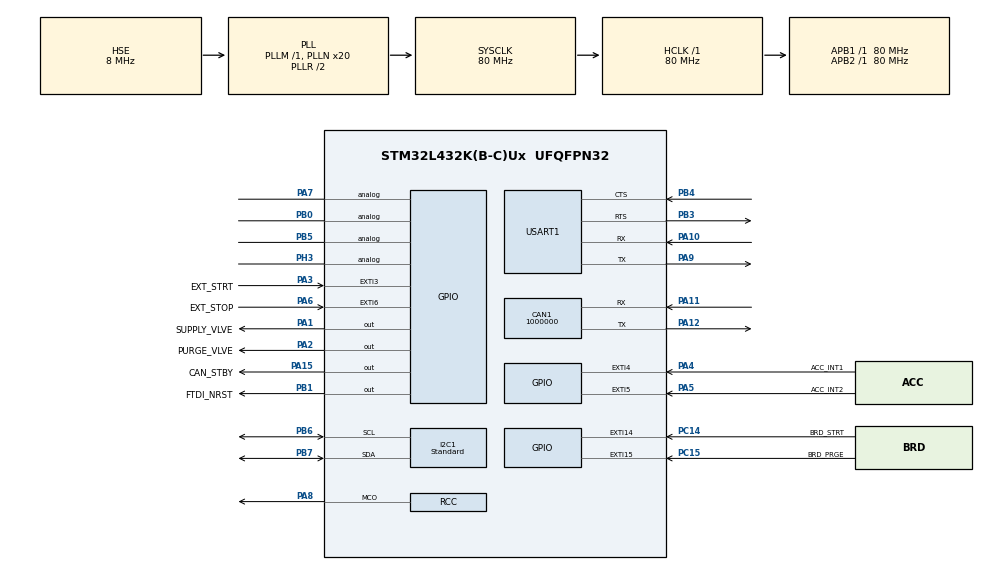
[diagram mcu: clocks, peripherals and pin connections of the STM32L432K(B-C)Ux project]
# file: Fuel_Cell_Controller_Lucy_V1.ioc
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CAN1.BS1=CAN_BS1_3TQ
CAN1.BS2=CAN_BS2_1TQ
CAN1.CalculateBaudRate=1000000
CAN1.CalculateTimeBit=1000
CAN1.CalculateTimeQuantum=200.0
CAN1.Mode=CAN_MODE_LOOPBACK
FREERTOS.BinarySemaphores01=canMsgOkSem,Dynamic,NULL
FREERTOS.Tasks01=CanTask,25,128,StartCanTask,Default,NULL,Static,CanTaskBuffer,CanTaskControlBlock;I2cTask,26,128,StartI2cTask,Default,NULL,Static,I2cTaskBuffer,I2cTaskControlBlock;FuelCellTask,27,128,StartFuelCellTask,Default,NULL,Static,FuelCellTaskBuffer,FuelCellTaskControlBlock
FREERTOS.configENABLE_FPU=1
FREERTOS.configUSE_NEWLIB_REENTRANT=1
I2C1.I2C_Speed_Mode=I2C_Standard
I2C1.Timing=0x10909CEC
Mcu.Family=STM32L4
Mcu.Name=STM32L432K(B-C)Ux
Mcu.Package=UFQFPN32
NVIC.CAN1_RX0_IRQn=true\:5\:0\:false\:false\:true\:true\:true\:true\:true
NVIC.CAN1_TX_IRQn=true\:5\:0\:false\:false\:true\:true\:true\:true\:true
NVIC.EXTI15_10_IRQn=true\:5\:0\:false\:false\:true\:true\:true\:true\:true
NVIC.EXTI3_IRQn=true\:5\:0\:false\:false\:true\:true\:true\:true\:true
NVIC.EXTI4_IRQn=true\:5\:0\:false\:false\:true\:true\:true\:true\:true
NVIC.EXTI9_5_IRQn=true\:5\:0\:false\:false\:true\:true\:true\:true\:true
NVIC.PriorityGroup=NVIC_PRIORITYGROUP_4
NVIC.TIM1_UP_TIM16_IRQn=true\:15\:0\:false\:false\:true\:false\:false\:true\:true
NVIC.TimeBase=TIM1_UP_TIM16_IRQn
NVIC.TimeBaseIP=TIM1
PA0.Mode=HSE-External-Clock-Source-for-LittleOrca
PA0.Signal=RCC_CK_IN
PA1.GPIO_Label=SUPPLY_VLVE
PA1.GPIO_PuPd=GPIO_PULLDOWN
PA1.PinState=GPIO_PIN_RESET
PA1.Signal=GPIO_Output
PA10.Mode=Asynchronous
PA10.Signal=USART1_RX
PA11.Mode=CAN_Activate
PA11.Signal=CAN1_RX
PA12.Mode=CAN_Activate
PA12.Signal=CAN1_TX
PA13\ (JTMS-SWDIO).Mode=Serial_Wire
PA13\ (JTMS-SWDIO).Signal=SYS_JTMS-SWDIO
PA14\ (JTCK-SWCLK).Mode=Serial_Wire
PA14\ (JTCK-SWCLK).Signal=SYS_JTCK-SWCLK
PA15\ (JTDI).GPIO_Label=CAN_STBY
PA15\ (JTDI).GPIO_PuPd=GPIO_PULLDOWN
PA15\ (JTDI).Signal=GPIO_Output
PA2.GPIO_Label=PURGE_VLVE
PA2.GPIO_PuPd=GPIO_PULLDOWN
PA2.Signal=GPIO_Output
PA3.GPIO_Label=EXT_STRT
PA3.GPIO_ModeDefaultEXTI=GPIO_MODE_IT_FALLING
PA3.GPIO_PuPd=GPIO_PULLUP
PA3.Signal=GPXTI3
PA4.GPIO_Label=ACC_INT1
PA4.GPIO_PuPd=GPIO_PULLDOWN
PA4.Signal=GPXTI4
PA5.GPIO_Label=ACC_INT2
PA5.GPIO_PuPd=GPIO_PULLDOWN
PA5.Signal=GPXTI5
PA6.GPIO_Label=EXT_STOP
PA6.GPIO_ModeDefaultEXTI=GPIO_MODE_IT_FALLING
PA6.GPIO_PuPd=GPIO_PULLUP
PA6.Signal=GPXTI6
PA7.Signal=GPIO_Analog
PA8.Mode=Clock-out
PA8.Signal=RCC_MCO
PA9.Mode=Asynchronous
PA9.Signal=USART1_TX
PB0.Signal=GPIO_Analog
PB1.GPIO_Label=FTDI_NRST
PB1.GPIO_PuPd=GPIO_PULLUP
PB1.Signal=GPIO_Output
PB3\ (JTDO-TRACESWO).Mode=CTS_RTS
PB3\ (JTDO-TRACESWO).Signal=USART1_RTS
PB4\ (NJTRST).Mode=CTS_RTS
PB4\ (NJTRST).Signal=USART1_CTS
PB5.Signal=GPIO_Analog
PB6.Mode=I2C
PB6.Signal=I2C1_SCL
PB7.Mode=I2C
PB7.Signal=I2C1_SDA
PC14-OSC32_IN\ (PC14).GPIO_Label=BRD_STRT
PC14-OSC32_IN\ (PC14).GPIO_ModeDefaultEXTI=GPIO_MODE_IT_FALLING
PC14-OSC32_IN\ (PC14).GPIO_PuPd=GPIO_PULLUP
PC14-OSC32_IN\ (PC14).Signal=GPXTI14
PC15-OSC32_OUT\ (PC15).GPIO_Label=BRD_PRGE
PC15-OSC32_OUT\ (PC15).GPIO_ModeDefaultEXTI=GPIO_MODE_IT_FALLING
PC15-OSC32_OUT\ (PC15).GPIO_PuPd=GPIO_PULLUP
PC15-OSC32_OUT\ (PC15).Signal=GPXTI15
PH3-BOOT0.Signal=GPIO_Analog
ProjectManager.HeapSize=0x200
ProjectManager.StackSize=0x400
ProjectManager.TargetToolchain=Makefile
RCC.ADCFreq_Value=32000000
RCC.AHBFreq_Value=80000000
RCC.APB1Freq_Value=80000000
RCC.APB1TimFreq_Value=80000000
RCC.APB2Freq_Value=80000000
RCC.APB2TimFreq_Value=80000000
RCC.CortexFreq_Value=80000000
RCC.HCLKFreq_Value=80000000
RCC.HSE_VALUE=8000000
RCC.HSI48_VALUE=48000000
RCC.HSI_VALUE=16000000
RCC.LSE_VALUE=32768
RCC.MSI_VALUE=4000000
RCC.PLLN=20
RCC.PLLSourceVirtual=RCC_PLLSOURCE_HSE
RCC.RCC_MCO1Source=RCC_MCO1SOURCE_HSE
RCC.RCC_MCODiv=RCC_MCODIV_8
RCC.SYSCLKFreq_VALUE=80000000
RCC.SYSCLKSource=RCC_SYSCLKSOURCE_PLLCLK
RCC.USBFreq_Value=32000000
RCC.VCOOutputFreq_Value=160000000
USART1.VirtualMode-Asynchronous=VM_ASYNC
VP_FREERTOS_VS_CMSIS_V2.Mode=CMSIS_V2
VP_SYS_VS_tim1.Mode=TIM1
board=custom

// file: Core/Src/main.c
/* USER CODE BEGIN Header */
/**
 ******************************************************************************
 * @file           : main.c
 * @brief          : Main program body
 ******************************************************************************
 * @attention
 *
 * Copyright (c) 2023 STMicroelectronics.
 * All rights reserved.
 *
 * This software is licensed under terms that can be found in the LICENSE file
 * in the root directory of this software component.
 * If no LICENSE file comes with this software, it is provided AS-IS.
 *
 ******************************************************************************
 */
/* USER CODE END Header */
#include "main.h"
#include "cmsis_os.h"

/* USER CODE BEGIN Includes */
#include "canid.h"
#include <stdio.h>
#include <string.h>
/* USER CODE END Includes */

typedef StaticTask_t osStaticThreadDef_t;
/* USER CODE BEGIN PTD */
#define ALL_RELAY_OFF 0x00
#define CHRGE_RELAY 0x01
#define RES_RELAY 0x02
#define DSCHRGE_RELAY 0x04
#define MTR_RELAY 0x08

typedef enum {
  RELAY_STBY = ALL_RELAY_OFF,
  RELAY_STRTP = RES_RELAY | DSCHRGE_RELAY,
  RELAY_CHRGE = RES_RELAY,
  RELAY_RUN = CHRGE_RELAY | DSCHRGE_RELAY | MTR_RELAY,
} rbState_t;

typedef enum {
  FUEL_CELL_OFF_STATE = 0x00,
  FUEL_CELL_STRTUP_STATE = 0x01,
  FUEL_CELL_CHRGE_STATE = 0x02,
  FUEL_CELL_RUN_STATE = 0x04
} fcState_t;

typedef struct {
  uint8_t x, y, z;
} accData_t;

typedef struct {
  uint8_t purge_state, supply_state;
  float internal_stack_temp, internal_stack_pressure;
} fcData_t;

typedef struct {
  fcData_t *pFC;
  uint32_t FCData_ID;
} canPack_t;

typedef struct {
  uint8_t H2_OK;
  float cap_voltage;
} canData_t;
/* USER CODE END PTD */

/* USER CODE BEGIN PD */
#define CAN_MESSAGE_SENT_TIMEOUT_MS 5000
#define CAN_ADD_TX_TIMEOUT_MS 5000

#define FULL_CAP_CHARGE_V 18

#define CAN_TX_MAILBOX_NONE 0x00000000U // Remove reference to tx mailbox
/* USER CODE END PD */

CAN_HandleTypeDef hcan1;

I2C_HandleTypeDef hi2c1;

UART_HandleTypeDef huart1;
DMA_HandleTypeDef hdma_usart1_rx;
DMA_HandleTypeDef hdma_usart1_tx;

/* Definitions for CanTask */
osThreadId_t CanTaskHandle;
uint32_t CanTaskBuffer[128];
osStaticThreadDef_t CanTaskControlBlock;
const osThreadAttr_t CanTask_attributes = {
    .name = "CanTask",
    .cb_mem = &CanTaskControlBlock,
    .cb_size = sizeof(CanTaskControlBlock),
    .stack_mem = &CanTaskBuffer[0],
    .stack_size = sizeof(CanTaskBuffer),
    .priority = (osPriority_t)osPriorityNormal1,
};
/* Definitions for I2cTask */
osThreadId_t I2cTaskHandle;
uint32_t I2cTaskBuffer[128];
osStaticThreadDef_t I2cTaskControlBlock;
const osThreadAttr_t I2cTask_attributes = {
    .name = "I2cTask",
    .cb_mem = &I2cTaskControlBlock,
    .cb_size = sizeof(I2cTaskControlBlock),
    .stack_mem = &I2cTaskBuffer[0],
    .stack_size = sizeof(I2cTaskBuffer),
    .priority = (osPriority_t)osPriorityNormal2,
};
/* Definitions for FuelCellTask */
osThreadId_t FuelCellTaskHandle;
uint32_t FuelCellTaskBuffer[128];
osStaticThreadDef_t FuelCellTaskControlBlock;
const osThreadAttr_t FuelCellTask_attributes = {
    .name = "FuelCellTask",
    .cb_mem = &FuelCellTaskControlBlock,
    .cb_size = sizeof(FuelCellTaskControlBlock),
    .stack_mem = &FuelCellTaskBuffer[0],
    .stack_size = sizeof(FuelCellTaskBuffer),
    .priority = (osPriority_t)osPriorityNormal3,
};
/* Definitions for canMsgOkSem */
osSemaphoreId_t canMsgOkSemHandle;
const osSemaphoreAttr_t canMsgOkSem_attributes = {.name = "canMsgOkSem"};
/* USER CODE BEGIN PV */
rbState_t rb_state = RELAY_STBY;
fcState_t fc_state = FUEL_CELL_OFF_STATE;

CAN_RxHeaderTypeDef RxHeader;
uint8_t RxData[8];

canData_t canData;

uint32_t TxMailboxFuelCellTask;

uint8_t RxUARTbuff;
uint8_t RxUARTData[32];
uint8_t UartIndex = 0;

uint32_t button_debounce;
/* USER CODE END PV */

void SystemClock_Config(void);
static void MX_GPIO_Init(void);
static void MX_DMA_Init(void);
static void MX_CAN1_Init(void);
static void MX_I2C1_Init(void);
static void MX_USART1_UART_Init(void);
void StartCanTask(void *argument);
void StartI2cTask(void *argument);
void StartFuelCellTask(void *argument);

/* USER CODE BEGIN PFP */
int _write(int file, char *ptr, int len) {
  HAL_UART_Transmit(&huart1, (uint8_t *)ptr, len, 10);
  return len;
}

void HAL_CAN_RxFifo0MsgPendingCallback(CAN_HandleTypeDef *hcan) {
  HAL_CAN_GetRxMessage(hcan, CAN_RX_FIFO0, &RxHeader, RxData);
}

/* Transmit Completed Callbacks for Message Sent Confirmations */
void HAL_CAN_TxMailbox0CompleteCallback(CAN_HandleTypeDef *hcan) {
  if (TxMailboxFuelCellTask == CAN_TX_MAILBOX0) {
    TxMailboxFuelCellTask = CAN_TX_MAILBOX_NONE;
    osSemaphoreRelease(canMsgOkSemHandle);
  }
}
void HAL_CAN_TxMailbox1CompleteCallback(CAN_HandleTypeDef *hcan) {
  if (TxMailboxFuelCellTask == CAN_TX_MAILBOX1) {
    TxMailboxFuelCellTask = CAN_TX_MAILBOX_NONE;
    osSemaphoreRelease(canMsgOkSemHandle);
  }
}
void HAL_CAN_TxMailbox2CompleteCallback(CAN_HandleTypeDef *hcan) {
  if (TxMailboxFuelCellTask == CAN_TX_MAILBOX2) {
    TxMailboxFuelCellTask = CAN_TX_MAILBOX_NONE;
    osSemaphoreRelease(canMsgOkSemHandle);
  }
}

const char msg[64] = "\r\n\tBuffer Overflowed - Message Lost\r\n";

void HAL_UART_RxCpltCallback(UART_HandleTypeDef *huart) {
  if (RxUARTbuff == (char)0x04) {
    // RxUARTData[UartIndex++] = '\r';
    // RxUARTData[UartIndex] = '\n';
    HAL_UART_Transmit_DMA(huart, RxUARTData, UartIndex);
    UartIndex = 0;
  } else {
    RxUARTData[UartIndex] = RxUARTbuff;
    if (UartIndex == (sizeof(RxUARTData) - 1)) {
      printf("\r\n\tBuffer Overflowed\r\n");
      // HAL_UART_Transmit_DMA(huart, (const uint8_t*)msg, 64);
      UartIndex = 0;
    } else {
      UartIndex++;
    }
  }
  HAL_UART_Receive_DMA(huart, &RxUARTbuff, 1U);
}

void HAL_GPIO_EXTI_Callback(uint16_t GPIO_Pin) {
  switch (GPIO_Pin) {
  case BRD_STRT_Pin:
    if (HAL_GetTick() - button_debounce > 1000) {
      if (fc_state & (FUEL_CELL_STRTUP_STATE | FUEL_CELL_CHRGE_STATE |
                      FUEL_CELL_RUN_STATE)) // If fc_state is non-zero
      {
        button_debounce = HAL_GetTick();
        fc_state = FUEL_CELL_OFF_STATE;
      } else {
        button_debounce = HAL_GetTick();
        fc_state = FUEL_CELL_STRTUP_STATE;
      }
    }
    break;
  case BRD_PRGE_Pin:
    /* Do something */
    break;
  case EXT_STRT_Pin:
    if (fc_state & (FUEL_CELL_STRTUP_STATE | FUEL_CELL_CHRGE_STATE |
                    FUEL_CELL_RUN_STATE)) {
      fc_state = FUEL_CELL_OFF_STATE;
    } else {
      fc_state = FUEL_CELL_STRTUP_STATE;
    }
    break;
  case ACC_INT1_Pin:
    /* Do something */
    break;
  case ACC_INT2_Pin:
    /* Do something */
    break;
  case EXT_STOP_Pin:
    /* Do something */
    fc_state = FUEL_CELL_OFF_STATE;
    break;
  default:
    /* Should never happen */
    break;
  }
}

HAL_StatusTypeDef HAL_CAN_SafeAddTxMessage(uint8_t *msg, uint32_t msg_id,
                                           uint32_t msg_length,
                                           uint32_t *TxMailbox) {
  uint32_t fc_tick;
  HAL_StatusTypeDef hal_stat;
  CAN_TxHeaderTypeDef TxHeader;

  // These will never change
  TxHeader.IDE = CAN_ID_STD;
  TxHeader.RTR = CAN_RTR_DATA;
  TxHeader.ExtId = 0;
  TxHeader.TransmitGlobalTime = DISABLE;

  // User will give us this information
  TxHeader.StdId = msg_id;
  TxHeader.DLC = msg_length;

  // Start a timer to check timeout conditions
  fc_tick = HAL_GetTick();

  /* Try to add a Tx message. Returns HAL_ERROR if there are no avail
   * mailboxes or if the peripheral is not initialized. */
  do {
    hal_stat = HAL_CAN_AddTxMessage(&hcan1, &TxHeader, msg, TxMailbox);
  } while (hal_stat != HAL_OK &&
           (HAL_GetTick() - fc_tick < CAN_ADD_TX_TIMEOUT_MS));

  return hal_stat;
}
/* USER CODE END PFP */

int main(void) {

  /* MCU Configuration--------------------------------------------------------*/

  /* Reset of all peripherals, Initializes the Flash interface and the Systick.
   */
  HAL_Init();

  /* Configure the system clock */
  SystemClock_Config();

  /* Initialize all configured peripherals */
  MX_GPIO_Init();
  MX_DMA_Init();
  MX_CAN1_Init();
  MX_I2C1_Init();
  MX_USART1_UART_Init();
  /* USER CODE BEGIN 2 */
  HAL_CAN_Start(&hcan1);
  HAL_CAN_ActivateNotification(&hcan1, CAN_IT_RX_FIFO0_MSG_PENDING);
  HAL_CAN_ActivateNotification(&hcan1, CAN_IT_TX_MAILBOX_EMPTY);

  button_debounce = HAL_GetTick();
  HAL_GPIO_WritePin(FTDI_NRST_GPIO_Port, FTDI_NRST_Pin, GPIO_PIN_SET);

  HAL_UART_Receive_DMA(&huart1, &RxUARTbuff, 1U);
  /* USER CODE END 2 */

  /* Init scheduler */
  osKernelInitialize();

  /* Create the semaphores(s) */
  /* creation of canMsgOkSem */
  canMsgOkSemHandle = osSemaphoreNew(1, 0, &canMsgOkSem_attributes);

  /* Create the thread(s) */
  /* creation of CanTask */
  CanTaskHandle = osThreadNew(StartCanTask, NULL, &CanTask_attributes);

  /* creation of I2cTask */
  I2cTaskHandle = osThreadNew(StartI2cTask, NULL, &I2cTask_attributes);

  /* creation of FuelCellTask */
  FuelCellTaskHandle =
      osThreadNew(StartFuelCellTask, NULL, &FuelCellTask_attributes);

  /* USER CODE BEGIN RTOS_THREADS */
  if (CanTaskHandle == NULL || I2cTaskHandle == NULL ||
      FuelCellTaskHandle == NULL) {
    while (1)
      ;
  }
  /* add threads, ... */
  /* USER CODE END RTOS_THREADS */

  /* Start scheduler */
  osKernelStart();

  /* We should never get here as control is now taken by the scheduler */
  /* Infinite loop */
  while (1) {

  }
}

void SystemClock_Config(void) {
  RCC_OscInitTypeDef RCC_OscInitStruct = {0};
  RCC_ClkInitTypeDef RCC_ClkInitStruct = {0};

  /** Configure the main internal regulator output voltage
   */
  if (HAL_PWREx_ControlVoltageScaling(PWR_REGULATOR_VOLTAGE_SCALE1) != HAL_OK) {
    Error_Handler();
  }

  /** Initializes the RCC Oscillators according to the specified parameters
   * in the RCC_OscInitTypeDef structure.
   */
  RCC_OscInitStruct.OscillatorType = RCC_OSCILLATORTYPE_HSE;
  RCC_OscInitStruct.HSEState = RCC_HSE_BYPASS;
  RCC_OscInitStruct.PLL.PLLState = RCC_PLL_ON;
  RCC_OscInitStruct.PLL.PLLSource = RCC_PLLSOURCE_HSE;
  RCC_OscInitStruct.PLL.PLLM = 1;
  RCC_OscInitStruct.PLL.PLLN = 20;
  RCC_OscInitStruct.PLL.PLLP = RCC_PLLP_DIV7;
  RCC_OscInitStruct.PLL.PLLQ = RCC_PLLQ_DIV2;
  RCC_OscInitStruct.PLL.PLLR = RCC_PLLR_DIV2;
  if (HAL_RCC_OscConfig(&RCC_OscInitStruct) != HAL_OK) {
    Error_Handler();
  }

  /** Initializes the CPU, AHB and APB buses clocks
   */
  RCC_ClkInitStruct.ClockType = RCC_CLOCKTYPE_HCLK | RCC_CLOCKTYPE_SYSCLK |
                                RCC_CLOCKTYPE_PCLK1 | RCC_CLOCKTYPE_PCLK2;
  RCC_ClkInitStruct.SYSCLKSource = RCC_SYSCLKSOURCE_PLLCLK;
  RCC_ClkInitStruct.AHBCLKDivider = RCC_SYSCLK_DIV1;
  RCC_ClkInitStruct.APB1CLKDivider = RCC_HCLK_DIV1;
  RCC_ClkInitStruct.APB2CLKDivider = RCC_HCLK_DIV1;

  if (HAL_RCC_ClockConfig(&RCC_ClkInitStruct, FLASH_LATENCY_4) != HAL_OK) {
    Error_Handler();
  }
  HAL_RCC_MCOConfig(RCC_MCO1, RCC_MCO1SOURCE_HSE, RCC_MCODIV_8);
}

static void MX_CAN1_Init(void) {

  hcan1.Instance = CAN1;
  hcan1.Init.Prescaler = 16;
  hcan1.Init.Mode = CAN_MODE_LOOPBACK;
  hcan1.Init.SyncJumpWidth = CAN_SJW_1TQ;
  hcan1.Init.TimeSeg1 = CAN_BS1_3TQ;
  hcan1.Init.TimeSeg2 = CAN_BS2_1TQ;
  hcan1.Init.TimeTriggeredMode = DISABLE;
  hcan1.Init.AutoBusOff = DISABLE;
  hcan1.Init.AutoWakeUp = DISABLE;
  hcan1.Init.AutoRetransmission = DISABLE;
  hcan1.Init.ReceiveFifoLocked = DISABLE;
  hcan1.Init.TransmitFifoPriority = DISABLE;
  if (HAL_CAN_Init(&hcan1) != HAL_OK) {
    Error_Handler();
  }
  /* USER CODE BEGIN CAN1_Init 2 */
  CAN_FilterTypeDef sf;
  // Accept StdID's 0x100 through 0x1FF
  sf.FilterIdHigh = 0x100 << 5;
  sf.FilterMaskIdHigh = 0x700 << 5;
  sf.FilterIdLow = 0x0000;
  sf.FilterMaskIdLow = 0x0000;
  sf.FilterFIFOAssignment = CAN_FILTER_FIFO0;
  sf.FilterBank = 0;
  sf.FilterMode = CAN_FILTERMODE_IDMASK;
  sf.FilterScale = CAN_FILTERSCALE_32BIT;
  sf.FilterActivation = CAN_FILTER_ENABLE;
  if (HAL_CAN_ConfigFilter(&hcan1, &sf) != HAL_OK) {
    Error_Handler();
  }
  /* USER CODE END CAN1_Init 2 */
}

static void MX_I2C1_Init(void) {

  hi2c1.Instance = I2C1;
  hi2c1.Init.Timing = 0x10909CEC;
  hi2c1.Init.OwnAddress1 = 0;
  hi2c1.Init.AddressingMode = I2C_ADDRESSINGMODE_7BIT;
  hi2c1.Init.DualAddressMode = I2C_DUALADDRESS_DISABLE;
  hi2c1.Init.OwnAddress2 = 0;
  hi2c1.Init.OwnAddress2Masks = I2C_OA2_NOMASK;
  hi2c1.Init.GeneralCallMode = I2C_GENERALCALL_DISABLE;
  hi2c1.Init.NoStretchMode = I2C_NOSTRETCH_DISABLE;
  if (HAL_I2C_Init(&hi2c1) != HAL_OK) {
    Error_Handler();
  }

  /** Configure Analogue filter
   */
  if (HAL_I2CEx_ConfigAnalogFilter(&hi2c1, I2C_ANALOGFILTER_ENABLE) != HAL_OK) {
    Error_Handler();
  }

  /** Configure Digital filter
   */
  if (HAL_I2CEx_ConfigDigitalFilter(&hi2c1, 0) != HAL_OK) {
    Error_Handler();
  }
}

static void MX_USART1_UART_Init(void) {

  huart1.Instance = USART1;
  huart1.Init.BaudRate = 115200;
  huart1.Init.WordLength = UART_WORDLENGTH_8B;
  huart1.Init.StopBits = UART_STOPBITS_1;
  huart1.Init.Parity = UART_PARITY_NONE;
  huart1.Init.Mode = UART_MODE_TX_RX;
  huart1.Init.HwFlowCtl = UART_HWCONTROL_RTS_CTS;
  huart1.Init.OverSampling = UART_OVERSAMPLING_16;
  huart1.Init.OneBitSampling = UART_ONE_BIT_SAMPLE_DISABLE;
  huart1.AdvancedInit.AdvFeatureInit = UART_ADVFEATURE_NO_INIT;
  if (HAL_UART_Init(&huart1) != HAL_OK) {
    Error_Handler();
  }
}

static void MX_DMA_Init(void) {

  /* DMA controller clock enable */
  __HAL_RCC_DMA1_CLK_ENABLE();

  /* DMA interrupt init */
  /* DMA1_Channel4_IRQn interrupt configuration */
  HAL_NVIC_SetPriority(DMA1_Channel4_IRQn, 5, 0);
  HAL_NVIC_EnableIRQ(DMA1_Channel4_IRQn);
  /* DMA1_Channel5_IRQn interrupt configuration */
  HAL_NVIC_SetPriority(DMA1_Channel5_IRQn, 5, 0);
  HAL_NVIC_EnableIRQ(DMA1_Channel5_IRQn);
}

static void MX_GPIO_Init(void) {
  GPIO_InitTypeDef GPIO_InitStruct = {0};

  /* GPIO Ports Clock Enable */
  __HAL_RCC_GPIOC_CLK_ENABLE();
  __HAL_RCC_GPIOA_CLK_ENABLE();
  __HAL_RCC_GPIOB_CLK_ENABLE();
  __HAL_RCC_GPIOH_CLK_ENABLE();

  /*Configure GPIO pin Output Level */
  HAL_GPIO_WritePin(GPIOA, SUPPLY_VLVE_Pin | PURGE_VLVE_Pin | CAN_STBY_Pin,
                    GPIO_PIN_RESET);

  /*Configure GPIO pin Output Level */
  HAL_GPIO_WritePin(FTDI_NRST_GPIO_Port, FTDI_NRST_Pin, GPIO_PIN_RESET);

  /*Configure GPIO pins : BRD_STRT_Pin BRD_PRGE_Pin */
  GPIO_InitStruct.Pin = BRD_STRT_Pin | BRD_PRGE_Pin;
  GPIO_InitStruct.Mode = GPIO_MODE_IT_FALLING;
  GPIO_InitStruct.Pull = GPIO_PULLUP;
  HAL_GPIO_Init(GPIOC, &GPIO_InitStruct);

  /*Configure GPIO pins : SUPPLY_VLVE_Pin PURGE_VLVE_Pin CAN_STBY_Pin */
  GPIO_InitStruct.Pin = SUPPLY_VLVE_Pin | PURGE_VLVE_Pin | CAN_STBY_Pin;
  GPIO_InitStruct.Mode = GPIO_MODE_OUTPUT_PP;
  GPIO_InitStruct.Pull = GPIO_PULLDOWN;
  GPIO_InitStruct.Speed = GPIO_SPEED_FREQ_LOW;
  HAL_GPIO_Init(GPIOA, &GPIO_InitStruct);

  /*Configure GPIO pins : EXT_STRT_Pin EXT_STOP_Pin */
  GPIO_InitStruct.Pin = EXT_STRT_Pin | EXT_STOP_Pin;
  GPIO_InitStruct.Mode = GPIO_MODE_IT_FALLING;
  GPIO_InitStruct.Pull = GPIO_PULLUP;
  HAL_GPIO_Init(GPIOA, &GPIO_InitStruct);

  /*Configure GPIO pins : ACC_INT1_Pin ACC_INT2_Pin */
  GPIO_InitStruct.Pin = ACC_INT1_Pin | ACC_INT2_Pin;
  GPIO_InitStruct.Mode = GPIO_MODE_IT_RISING;
  GPIO_InitStruct.Pull = GPIO_PULLDOWN;
  HAL_GPIO_Init(GPIOA, &GPIO_InitStruct);

  /*Configure GPIO pin : PA7 */
  GPIO_InitStruct.Pin = GPIO_PIN_7;
  GPIO_InitStruct.Mode = GPIO_MODE_ANALOG;
  GPIO_InitStruct.Pull = GPIO_NOPULL;
  HAL_GPIO_Init(GPIOA, &GPIO_InitStruct);

  /*Configure GPIO pins : PB0 PB5 */
  GPIO_InitStruct.Pin = GPIO_PIN_0 | GPIO_PIN_5;
  GPIO_InitStruct.Mode = GPIO_MODE_ANALOG;
  GPIO_InitStruct.Pull = GPIO_NOPULL;
  HAL_GPIO_Init(GPIOB, &GPIO_InitStruct);

  /*Configure GPIO pin : FTDI_NRST_Pin */
  GPIO_InitStruct.Pin = FTDI_NRST_Pin;
  GPIO_InitStruct.Mode = GPIO_MODE_OUTPUT_PP;
  GPIO_InitStruct.Pull = GPIO_PULLUP;
  GPIO_InitStruct.Speed = GPIO_SPEED_FREQ_LOW;
  HAL_GPIO_Init(FTDI_NRST_GPIO_Port, &GPIO_InitStruct);

  /*Configure GPIO pin : PA8 */
  GPIO_InitStruct.Pin = GPIO_PIN_8;
  GPIO_InitStruct.Mode = GPIO_MODE_AF_PP;
  GPIO_InitStruct.Pull = GPIO_NOPULL;
  GPIO_InitStruct.Speed = GPIO_SPEED_FREQ_LOW;
  GPIO_InitStruct.Alternate = GPIO_AF0_MCO;
  HAL_GPIO_Init(GPIOA, &GPIO_InitStruct);

  /*Configure GPIO pin : PH3 */
  GPIO_InitStruct.Pin = GPIO_PIN_3;
  GPIO_InitStruct.Mode = GPIO_MODE_ANALOG;
  GPIO_InitStruct.Pull = GPIO_NOPULL;
  HAL_GPIO_Init(GPIOH, &GPIO_InitStruct);

  /* EXTI interrupt init*/
  HAL_NVIC_SetPriority(EXTI3_IRQn, 5, 0);
  HAL_NVIC_EnableIRQ(EXTI3_IRQn);

  HAL_NVIC_SetPriority(EXTI4_IRQn, 5, 0);
  HAL_NVIC_EnableIRQ(EXTI4_IRQn);

  HAL_NVIC_SetPriority(EXTI9_5_IRQn, 5, 0);
  HAL_NVIC_EnableIRQ(EXTI9_5_IRQn);

  HAL_NVIC_SetPriority(EXTI15_10_IRQn, 5, 0);
  HAL_NVIC_EnableIRQ(EXTI15_10_IRQn);

}

void StartCanTask(void *argument) {
  /* USER CODE BEGIN 5 */
  /* Infinite loop */
  for (;;) {
    printf("ID: %d, Data: %d\r\n", RxHeader.StdId, RxData[0]);
    osDelay(10);
  }
  /* USER CODE END 5 */
}

void StartI2cTask(void *argument) {
  for (;;) {
    osDelay(1);
  }
}

void StartFuelCellTask(void *argument) {
  /* USER CODE BEGIN StartFuelCellTask */
  osStatus_t os_stat;
  HAL_StatusTypeDef hal_stat;

  /* Infinite loop */
  for (;;) {
    switch (fc_state) {
    case FUEL_CELL_OFF_STATE:
      rb_state = RELAY_STBY;
      HAL_GPIO_WritePin(PURGE_VLVE_GPIO_Port, PURGE_VLVE_Pin, GPIO_PIN_RESET);
      HAL_GPIO_WritePin(SUPPLY_VLVE_GPIO_Port, SUPPLY_VLVE_Pin, GPIO_PIN_RESET);
      hal_stat =
          HAL_CAN_SafeAddTxMessage(&rb_state, (uint32_t)RELAY_CONFIGURATION_ID,
                                   1UL, &TxMailboxFuelCellTask);
      if (hal_stat == HAL_OK) {
        if (osSemaphoreAcquire(canMsgOkSemHandle,
                               CAN_MESSAGE_SENT_TIMEOUT_MS) == osOK) {
          // Message succesfully sent
          // Should we suspend the task here?
        }
      } else {
        // Add error handle here
        // HAL_UART_Transmit_DMA()
        // Perhaps abort the Tx request
      }

      break;
    case FUEL_CELL_STRTUP_STATE:
      rb_state = RELAY_STRTP;
      hal_stat =
          HAL_CAN_SafeAddTxMessage(&rb_state, (uint32_t)RELAY_CONFIGURATION_ID,
                                   1UL, &TxMailboxFuelCellTask);
      if (hal_stat == HAL_OK) {
        if (osSemaphoreAcquire(canMsgOkSemHandle,
                               CAN_MESSAGE_SENT_TIMEOUT_MS) == osOK) {
          // Start the hydrogen supply and purge for 500 ms
          HAL_GPIO_WritePin(SUPPLY_VLVE_GPIO_Port, SUPPLY_VLVE_Pin,
                            GPIO_PIN_SET);
          HAL_GPIO_WritePin(PURGE_VLVE_GPIO_Port, PURGE_VLVE_Pin, GPIO_PIN_SET);
          osDelay(500);
          HAL_GPIO_WritePin(PURGE_VLVE_GPIO_Port, PURGE_VLVE_Pin,
                            GPIO_PIN_RESET);
          fc_state = FUEL_CELL_CHRGE_STATE;
        } else {
          // Tx never added or didn't send succesfully in CAN_MESSAGE_TIMEOUT_MS
          fc_state = FUEL_CELL_OFF_STATE;
          // should probably abort the Tx request
        }
      }
      break;
    case FUEL_CELL_CHRGE_STATE:
      rb_state = RELAY_CHRGE;
      // Need to be monitoring capicator voltage, will likely be handled in
      // RxMailbox interrupt
      if (canData.cap_voltage >= FULL_CAP_CHARGE_V) {
      } else {
      }
      // CAN message to relay board cap charge mode
      // Wait for caps to charge up
      // Move to run mode
      break;
    case FUEL_CELL_RUN_STATE:
      // CAN message to relay board run mode

      break;
    }
    osDelay(10);
  }
  /* USER CODE END StartFuelCellTask */
}

void HAL_TIM_PeriodElapsedCallback(TIM_HandleTypeDef *htim) {
  if (htim->Instance == TIM1) {
    HAL_IncTick();
  }
}

void Error_Handler(void) {
  __disable_irq();
  while (1) {
  }
}

#ifdef USE_FULL_ASSERT
/**
 * @brief  Reports the name of the source file and the source line number
 *         where the assert_param error has occurred.
 * @param  file: pointer to the source file name
 * @param  line: assert_param error line source number
 * @retval None
 */
void assert_failed(uint8_t *file, uint32_t line) {
  /* USER CODE BEGIN 6 */
  /* User can add his own implementation to report the file name and line
     number, ex: printf("Wrong parameters value: file %s on line %d\r\n", file,
     line) */
  /* USER CODE END 6 */
}
#endif /* USE_FULL_ASSERT */
